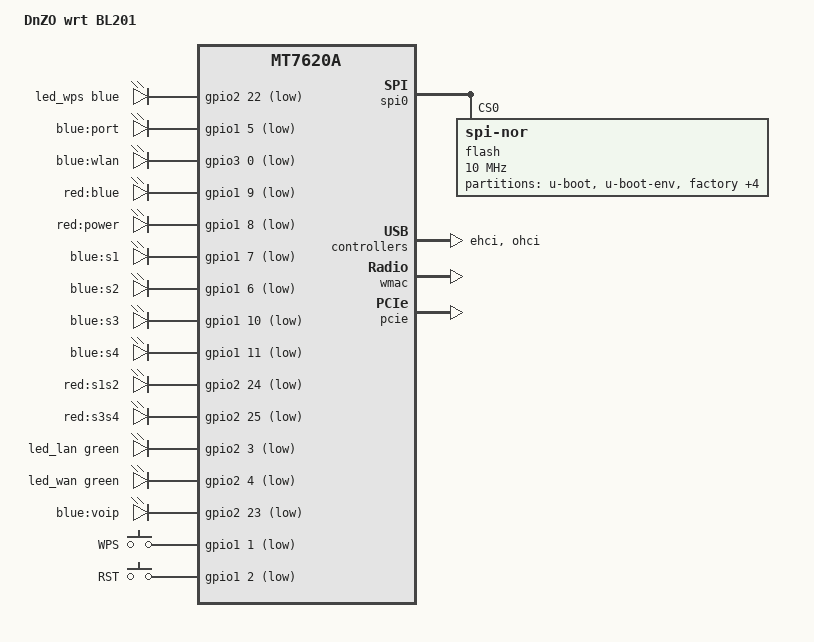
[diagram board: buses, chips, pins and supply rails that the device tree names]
#include "mt7620a.dtsi"

#include <dt-bindings/gpio/gpio.h>
#include <dt-bindings/input/input.h>
#include <dt-bindings/leds/common.h>

/ {
	compatible = "dnzo-wrt,bl201", "ralink,mt7620a-soc";
	model = "DnZO wrt BL201";

	aliases {
		led-boot = &power_red;
		led-failsafe = &power_red;
		led-running = &power_blue;
		led-upgrade = &power_red;
		label-mac-device = &ethernet;
	};

	chosen {
		bootargs = "console=ttyS0,57600";
	};

	leds {
		compatible = "gpio-leds";

		led_wps {
			function = LED_FUNCTION_WPS;
			color = <LED_COLOR_ID_BLUE>;
			gpios = <&gpio2 22 GPIO_ACTIVE_LOW>;
		};

		led_port {
			label = "blue:port";
			gpios = <&gpio1 5 GPIO_ACTIVE_LOW>;
		};

		led_wlan {
			label = "blue:wlan";
			gpios = <&gpio3 0 GPIO_ACTIVE_LOW>;
		};

		power_blue: power_blue {
			label = "red:blue";
			gpios = <&gpio1 9 GPIO_ACTIVE_LOW>;
		};

		power_red: power_red {
			label = "red:power";
			gpios = <&gpio1 8 GPIO_ACTIVE_LOW>;
		};

		led_lte1 {
			label = "blue:s1";
			gpios = <&gpio1 7 GPIO_ACTIVE_LOW>;
		};

		led_lte2 {
			label = "blue:s2";
			gpios = <&gpio1 6 GPIO_ACTIVE_LOW>;
		};

		led_lte3 {
			label = "blue:s3";
			gpios = <&gpio1 10 GPIO_ACTIVE_LOW>;
		};

		led_lte4 {
			label = "blue:s4";
			gpios = <&gpio1 11 GPIO_ACTIVE_LOW>;
		};
		
		led_lte5 {
			label = "red:s1s2";
			gpios = <&gpio2 24 GPIO_ACTIVE_LOW>;
		};

		led_lte6 {
			label = "red:s3s4";
			gpios = <&gpio2 25 GPIO_ACTIVE_LOW>;
		};
		
		led_lan {
			function = LED_FUNCTION_LAN;
			color = <LED_COLOR_ID_GREEN>;
			gpios = <&gpio2 3 GPIO_ACTIVE_LOW>;
		};
		
		led_wan {
			function = LED_FUNCTION_WAN;
			color = <LED_COLOR_ID_GREEN>;
			gpios = <&gpio2 4 GPIO_ACTIVE_LOW>;
		};

		led_voip {
			label = "blue:voip";
			gpios = <&gpio2 23 GPIO_ACTIVE_LOW>;
		};
	};

	keys {
		compatible = "gpio-keys";

		wps {
			label = "WPS";
			linux,code = <KEY_WPS_BUTTON>;
			gpios = <&gpio1 1 GPIO_ACTIVE_LOW>;
		};

		reset {
			label = "RST";
			linux,code = <KEY_RESTART>;
			gpios = <&gpio1 2 GPIO_ACTIVE_LOW>;
		};
	};
};

&gpio0 {
	status = "okay";
};

&gpio1 {
	status = "okay";
};

&gpio2 {
	status = "okay";
};

&gpio3 {
	status = "okay";
};

&spi0 {
	status = "okay";

	flash@0 {
		compatible = "jedec,spi-nor";
		reg = <0>;
		spi-max-frequency = <10000000>;

		partitions {
			compatible = "fixed-partitions";
			#address-cells = <1>;
			#size-cells = <1>;

			partition@0 {
				label = "u-boot";
				reg = <0x0 0x30000>;
				read-only;
			};

			partition@30000 {
				label = "u-boot-env";
				reg = <0x30000 0x10000>;
			};

			factory: partition@40000 {
				label = "factory";
				reg = <0x40000 0x10000>;
				read-only;
			};

			partition@50000 {
				compatible = "denx,uimage";
				label = "firmware";
				reg = <0x50000 0xf80000>;
			};

			partition@fd0000 {
				label = "crash";
				reg = <0xfd0000 0x10000>;
			};

			partition@fe0000 {
				label = "reserved";
				reg = <0xfe0000 0x10000>;
				read-only;
			};

			partition@ff0000 {
				label = "Bdata";
				reg = <0xff0000 0x10000>;
			};
		};
	};
};

&ehci {
	status = "okay";
};

&ohci {
	status = "okay";
};

&ethernet {
	pinctrl-names = "default";

	mtd-mac-address = <&factory 0x28>;
	mediatek,portmap = "llllw";
};

&wmac {
	ralink,mtd-eeprom = <&factory 0x0>;
	pinctrl-names = "default";
	pinctrl-0 = <&pa_pins>;
};

&pcie {
	status = "okay";
};

&pcie0 {
	mt76@0,0 {
		reg = <0x0000 0 0 0 0>;
		mediatek,mtd-eeprom = <&factory 0x8000>;
		ieee80211-freq-limit = <5000000 6000000>;
	};
};

&state_default {
	gpio {
		groups = "i2c", "uartf", "rgmii1", "rgmii2", "ephy", "wled", "nd_sd";
		function = "gpio";
	};
};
